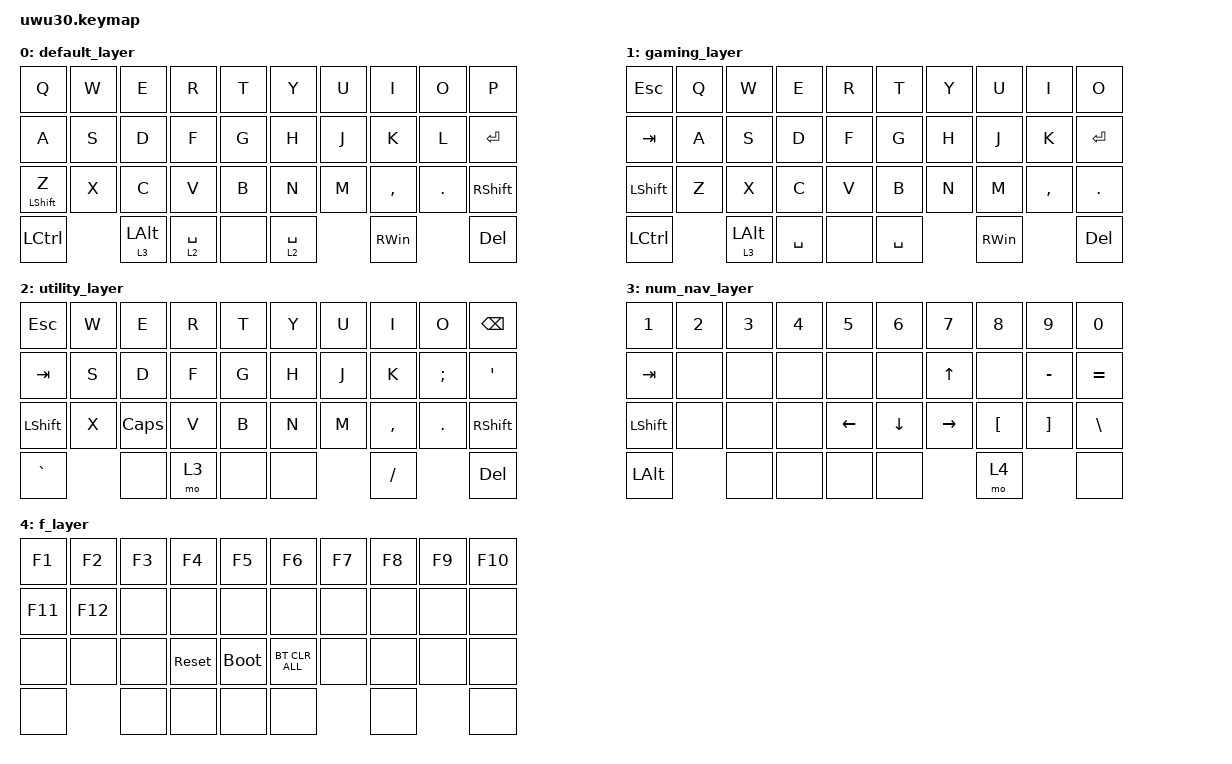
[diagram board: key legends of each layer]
/*
 * Copyright (c) 2023 The ZMK Contributors
 *
 * SPDX-License-Identifier: MIT
 */

#include <behaviors.dtsi>
#include <dt-bindings/zmk/keys.h>
#include <dt-bindings/zmk/bt.h>
#include <dt-bindings/zmk/outputs.h>

/ {
    combos {
        compatible = "zmk,combos";

        combo_mo1 {
            timeout-ms = <50>;
            require-prior-idle-ms = <200>;
            key-positions = <28 29>;
            bindings = <&tog 1>;
        };
    };
};

&mt {
    flavor = "tap-preferred";
    tapping-term-ms = <150>;
};

&lt {
    flavor = "tap-preferred";
    tapping-term-ms = <200>;
};

/ {
    keymap {
        compatible = "zmk,keymap";

        default_layer {
            bindings = <
    &kp Q           &kp W           &kp E           &kp R           &kp T           &kp Y           &kp U           &kp I           &kp O           &kp P
    &kp A           &kp S           &kp D           &kp F           &kp G           &kp H           &kp J           &kp K           &kp L           &kp ENTER
    &mt LSHIFT Z    &kp X           &kp C           &kp V           &kp B           &kp N           &kp M           &kp COMMA       &kp DOT         &kp RSHIFT
    &kp LCTRL                       &lt 3 LALT      &lt 2 SPACE     &none           &lt 2 SPACE                     &kp RWIN                        &kp DEL

            >;
        };

        gaming_layer {
            bindings = <
    &kp ESC         &kp Q           &kp W           &kp E           &kp R           &kp T           &kp Y           &kp U           &kp I           &kp O
    &kp TAB         &kp A           &kp S           &kp D           &kp F           &kp G           &kp H           &kp J           &kp K           &kp ENTER
    &kp LSHIFT      &kp Z           &kp X           &kp C           &kp V           &kp B           &kp N           &kp M           &kp COMMA       &kp DOT
    &kp LCTRL                       &lt 3 LALT      &kp SPACE       &none           &kp SPACE                       &kp RWIN                        &kp DEL
            >;
        };

        utility_layer {
            bindings = <
    &kp ESC         &kp W           &kp E           &kp R           &kp T           &kp Y           &kp U           &kp I           &kp O           &kp BSPC
    &kp TAB         &kp S           &kp D           &kp F           &kp G           &kp H           &kp J           &kp K           &kp SEMI        &kp SQT
    &kp LSHIFT      &kp X           &kp CAPSLOCK    &kp V           &kp B           &kp N           &kp M           &kp COMMA       &kp DOT         &kp RSHIFT
    &kp GRAVE                       &none           &mo 3           &none           &none                           &kp SLASH                       &kp DEL
            >;
        };

        num_nav_layer {
            bindings = <
    &kp N1          &kp N2          &kp N3          &kp N4          &kp N5          &kp N6          &kp N7          &kp N8          &kp N9          &kp N0
    &kp TAB         &none           &none           &none           &none           &none           &kp UP          &none           &kp MINUS       &kp EQUAL
    &kp LSHIFT      &none           &none           &none           &kp LEFT        &kp DOWN        &kp RIGHT       &kp LBKT        &kp RBKT        &kp BACKSLASH
    &kp LALT                        &none           &none           &none           &none                           &mo 4                           &none 
            >;
        };

        f_layer {
            bindings = <
    &kp F1          &kp F2          &kp F3          &kp F4          &kp F5          &kp F6          &kp F7          &kp F8          &kp F9          &kp F10
    &kp F11         &kp F12         &none           &none           &none           &none           &none           &none           &none           &none 
    &none           &none           &none           &sys_reset      &bootloader     &bt BT_CLR_ALL  &none           &none           &none           &none 
    &none                           &none           &none           &none           &none                           &none                           &none 
            >;
        };
    };
};
